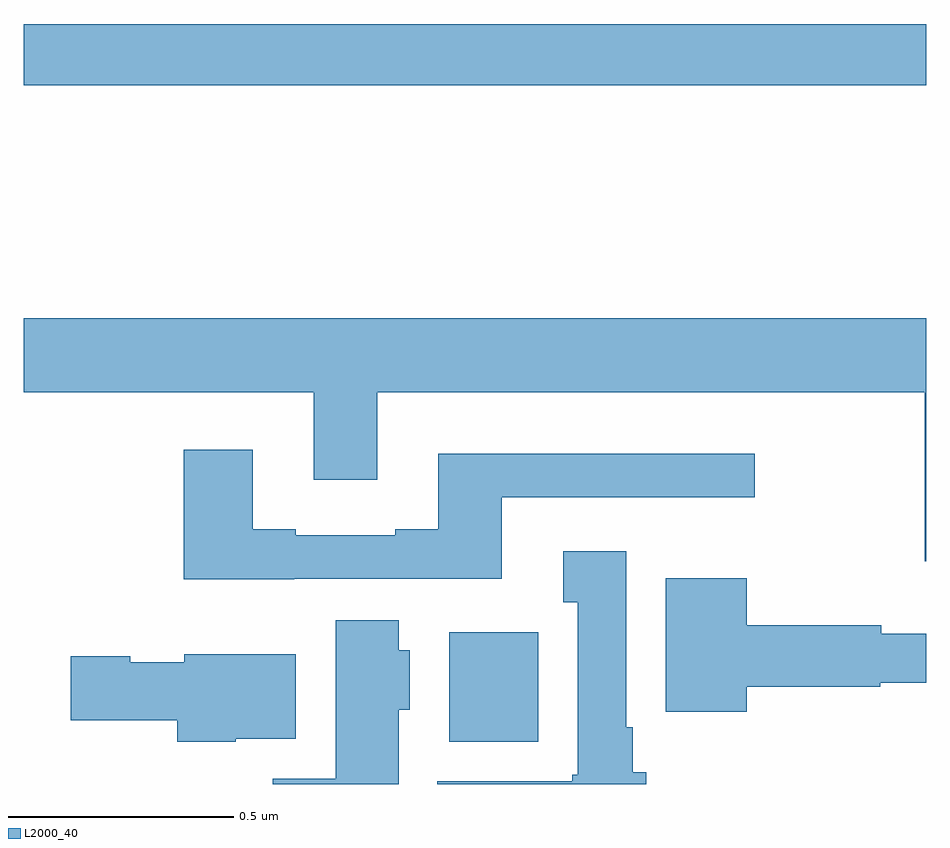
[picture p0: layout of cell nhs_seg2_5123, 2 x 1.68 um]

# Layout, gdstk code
import gdstk
lib = gdstk.Library(unit=1e-6, precision=1e-09)
def R(c, l, rs):  # rectangles x0, y0, x1, y1
    for r in rs: c.add(gdstk.rectangle(r[:2], r[2:], *l))
def P(c, l, *ps):  # polygons
    for p in ps: c.add(gdstk.Polygon(p, *l))
L2000_40 = (2000, 40)

nhs_seg2_5123 = lib.new_cell('nhs_seg2_5123')
R(nhs_seg2_5123, L2000_40, [(175.943,614.894,176.14,615.136), (175,616.348,177,616.484)])
P(nhs_seg2_5123, L2000_40, [(177,615.832),(175,615.832),(175,615.668),(175.643,615.668),(175.643,615.474),(175.783,615.474),(175.783,615.668),(176.996,615.668),(176.996,615.294),(177,615.294)],
  [(175.599,615.255),(176.059,615.255),(176.059,615.435),(176.62,615.435),(176.62,615.532),(175.919,615.532),(175.919,615.364),(175.823,615.364),(175.823,615.351),(175.603,615.351),(175.603,615.364),(175.507,615.364),(175.507,615.541),(175.355,615.541),(175.355,615.254),(175.599,615.254)],
  [(176.38,614.826),(176.35,614.826),(176.35,614.926),(176.335,614.926),(176.335,615.316),(176.195,615.316),(176.195,615.203),(176.228,615.203),(176.228,614.82),(176.215,614.82),(176.215,614.806),(175.916,614.806),(175.916,614.8),(176.38,614.8)],
  [(176.602,615.016),(176.898,615.016),(176.898,615.024),(177,615.024),(177,615.133),(176.9,615.133),(176.9,615.152),(176.602,615.152),(176.602,615.256),(176.423,615.256),(176.423,614.96),(176.602,614.96)],
  [(175.831,614.964),(175.855,614.964),(175.855,615.096),(175.831,615.096),(175.831,615.163),(175.691,615.163),(175.691,614.812),(175.552,614.812),(175.552,614.8),(175.831,614.8)],
  [(175.47,614.9),(175.603,614.9),(175.603,615.088),(175.356,615.088),(175.356,615.07),(175.236,615.07),(175.236,615.083),(175.104,615.083),(175.104,614.941),(175.34,614.941),(175.34,614.894),(175.47,614.894)])

lib.write_gds('nhs_seg2_5123.gds')
